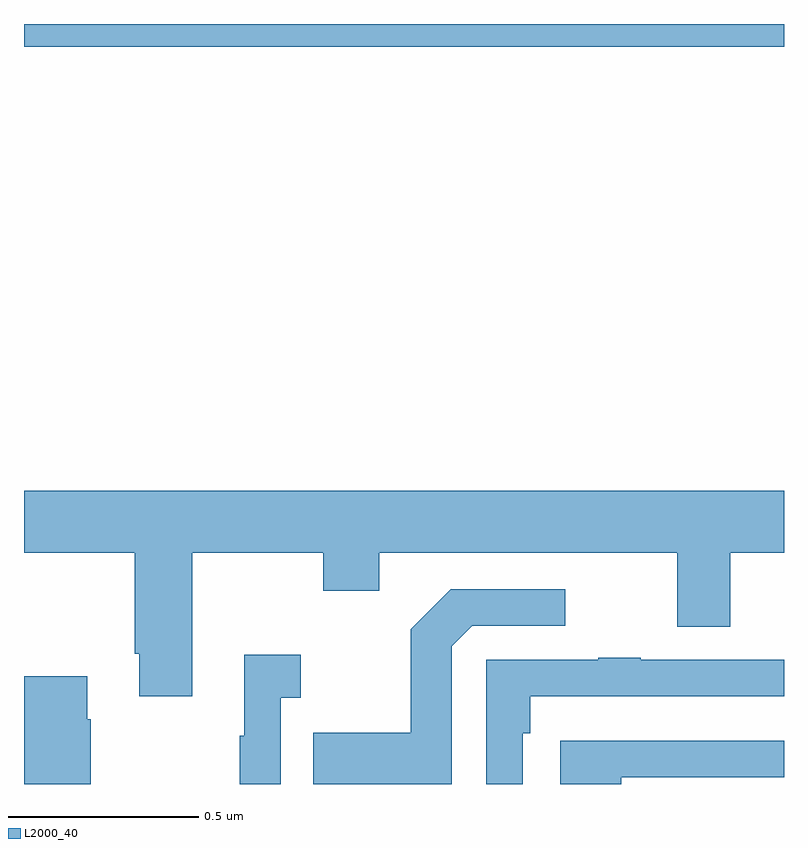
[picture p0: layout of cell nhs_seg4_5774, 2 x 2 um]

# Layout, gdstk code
import gdstk
lib = gdstk.Library(unit=1e-6, precision=1e-09)
def R(c, l, rs):  # rectangles x0, y0, x1, y1
    for r in rs: c.add(gdstk.rectangle(r[:2], r[2:], *l))
def P(c, l, *ps):  # polygons
    for p in ps: c.add(gdstk.Polygon(p, *l))
L2000_40 = (2000, 40)

nhs_seg4_5774 = lib.new_cell('nhs_seg4_5774')
R(nhs_seg4_5774, L2000_40, [(182,776.84,184,776.9)])
P(nhs_seg4_5774, L2000_40, [(182.443,775.508),(182.788,775.508),(182.788,775.409),(182.935,775.409),(182.935,775.508),(183.719,775.508),(183.719,775.314),(183.859,775.314),(183.859,775.508),(184,775.508),(184,775.672),(182,775.672),(182,775.508),(182.291,775.508),(182.291,775.243),(182.303,775.243),(182.303,775.131),(182.443,775.131)],
  [(183.126,775.263),(183.18,775.317),(183.424,775.317),(183.424,775.413),(183.123,775.413),(183.018,775.307),(183.018,775.035),(182.761,775.035),(182.761,774.9),(183.126,774.9)],
  [(182.676,775.127),(182.728,775.127),(182.728,775.24),(182.579,775.24),(182.579,775.027),(182.568,775.027),(182.568,774.9),(182.676,774.9)],
  [(183.312,775.034),(183.332,775.034),(183.332,775.131),(184,775.131),(184,775.227),(183.623,775.227),(183.623,775.232),(183.511,775.232),(183.511,775.227),(183.216,775.227),(183.216,774.9),(183.312,774.9)],
  [(182.175,775.07),(182.167,775.07),(182.167,775.183),(182,775.183),(182,774.9),(182.175,774.9)],
  [(183.572,774.918),(184,774.918),(184,775.014),(183.411,775.014),(183.411,774.9),(183.572,774.9)])

lib.write_gds('nhs_seg4_5774.gds')
